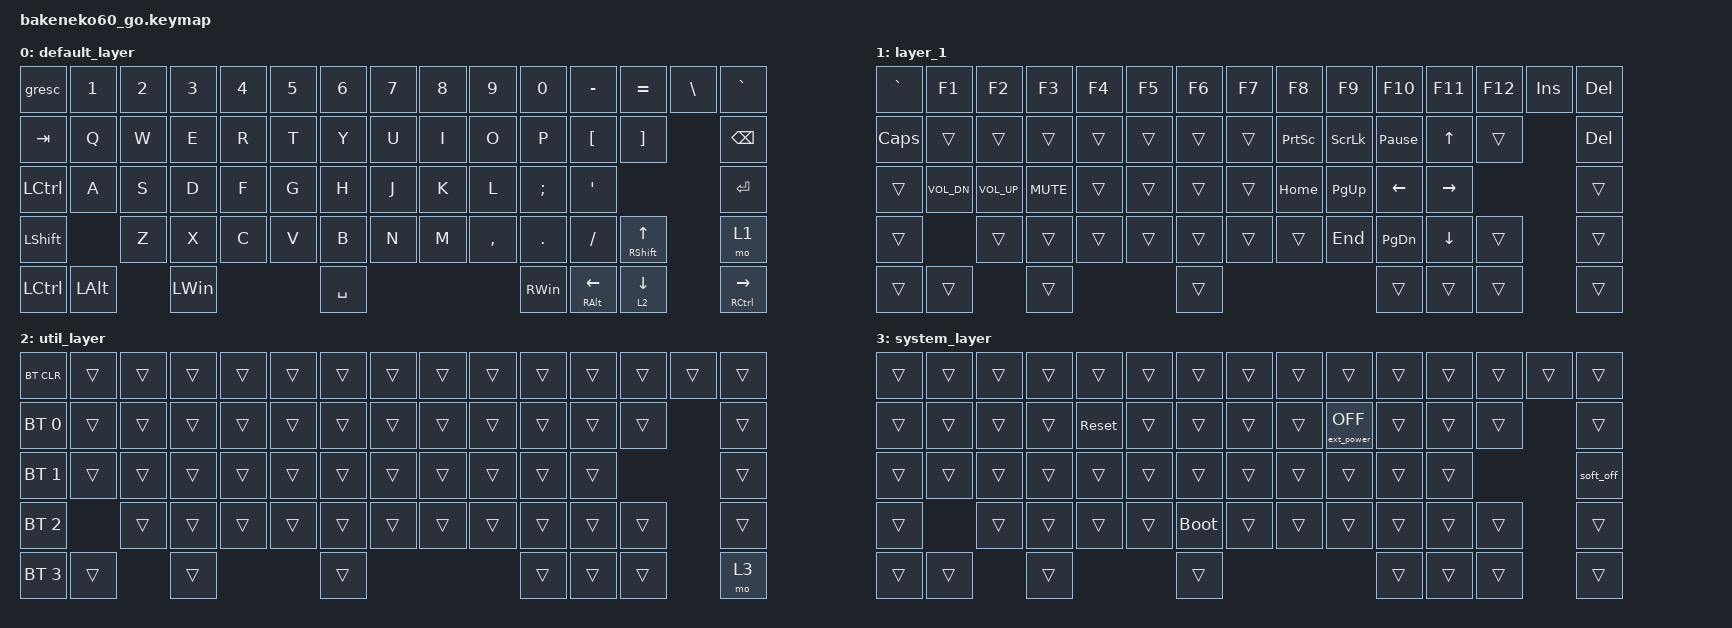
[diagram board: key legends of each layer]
/*
 * Copyright (c) 2023 Andrew Kannan
 *
 * SPDX-License-Identifier: MIT
 */

#include <behaviors.dtsi>
#include <dt-bindings/zmk/bt.h>
#include <dt-bindings/zmk/ext_power.h>
#include <dt-bindings/zmk/keys.h>

&soft_off {
    hold-time-ms = <2000>; // Only turn off when the key is held for 2 seconds or longer.
};

/ {
    keymap {
        compatible = "zmk,keymap";

        default_layer {
            // ------------------------------------------------------------------------------------------
            // | ESC |  1  |  2  |  3  |  4  |  5  |  6  |  7  |  8  |  9  |  0  |  -  |  =  | BKSP|BKSP|
            // | TAB  |  Q  |  W  |  E  |  R  |  T  |  Y  |  U  |  I  |  O  |  P  |  [  |  ]  |   "|"   |
            // | CAPS  |  A  |  S  |  D  |  F  |  G  |  H  |  J  |  K  |  L  |  ;  |  '  |     ENTER    |
            // |  SHIFT  |  Z  |  X  |  C  |  V  |  B  |  N  |  M  |  ,  |  .  |  /  |  SHIFT  | MO(1)  |
            // |  CTL  |  WIN  |  ALT  |            SPACE              |  ALT  |  WIN  |  MO(1) |  CTL  |
            // ------------------------------------------------------------------------------------------

            bindings = <
&gresc     &kp N1    &kp N2  &kp N3    &kp N4  &kp N5  &kp N6     &kp N7  &kp N8  &kp N9     &kp N0    &kp MINUS                 &kp EQUAL           &kp BACKSLASH  &kp GRAVE
&kp TAB    &kp Q     &kp W   &kp E     &kp R   &kp T   &kp Y      &kp U   &kp I   &kp O      &kp P     &kp LBKT                  &kp RBKT                           &kp BACKSPACE
&kp LCTRL  &kp A     &kp S   &kp D     &kp F   &kp G   &kp H      &kp J   &kp K   &kp L      &kp SEMI  &kp SQT                                                      &kp RET
&kp LSHFT            &kp Z   &kp X     &kp C   &kp V   &kp B      &kp N   &kp M   &kp COMMA  &kp DOT   &kp FSLH                  &mt RSHFT UP_ARROW                 &mo 1
&kp LCTRL  &kp LALT          &kp LWIN                  &kp SPACE                             &kp RWIN  &mt RIGHT_ALT LEFT_ARROW  &lt 2 DOWN_ARROW                   &mt RCTRL RIGHT_ARROW
            >;
        };

        layer_1 {
            // ------------------------------------------------------------------------------------------------
            // |    `   | F1  | F2  | F3  | F4  | F5  | F6  | F7  | F8  | F9  | F10  | F11 | F12 |     | DEL  |
            // | EFCT REV|   |  UP |   | HUEUP | SATUP | BRIUP | SPDUP |      |  PGUP |    |     |    |       |
            // | EFCT FWD | LT |  DN  | RT | HUEDN | SATDN | BRIDN | SPDDN | HOME | PGDN | END  |  | BOOTLDR  |
            // |             |     |      |      |     |     |     |     |     |     |     |         |        |
            // |         |      |      |             TOG RGB                | PRT SCR |       |       |  MO(2)|
            // ------------------------------------------------------------------------------------------------

            bindings = <
&kp GRAVE  &kp F1        &kp F2        &kp F3      &kp F4  &kp F5  &kp F6  &kp F7  &kp F8           &kp F9          &kp F10          &kp F11       &kp F12  &kp INS  &kp DEL
&kp CLCK   &trans        &trans        &trans      &trans  &trans  &trans  &trans  &kp PRINTSCREEN  &kp SCROLLLOCK  &kp PAUSE_BREAK  &kp UP_ARROW  &trans            &kp DEL
&trans     &kp C_VOL_DN  &kp C_VOL_UP  &kp K_MUTE  &trans  &trans  &trans  &trans  &kp HOME         &kp PG_UP       &kp LEFT         &kp RIGHT                       &trans
&trans                   &trans        &trans      &trans  &trans  &trans  &trans  &trans           &kp END         &kp PG_DN        &kp DOWN      &trans            &trans
&trans     &trans                      &trans                      &trans                                           &trans           &trans        &trans            &trans
            >;
        };

        util_layer {
            // ------------------------------------------------------------------------------------------------
            // | BT CLR |     |     |     |     |     |     |     |     |     |     |    |    |       |       |
            // |  BT 1   |   |     |   |       |       |       |       |   |     |    |     |     |           |
            // |   BT 2   |    |      |    |       |       |       |       |      |      |      |  |   Reset  |
            // |    BT 3     |     |      |      |     |     |     |     |     |     |     |         |        |
            // |   BT 4  |      |      |                                    |         |       |       |       |
            // ------------------------------------------------------------------------------------------------

            bindings = <
&bt BT_CLR    &trans  &trans  &trans  &trans  &trans  &trans  &trans  &trans  &trans  &trans  &trans  &trans  &trans  &trans
&bt BT_SEL 0  &trans  &trans  &trans  &trans  &trans  &trans  &trans  &trans  &trans  &trans  &trans  &trans          &trans
&bt BT_SEL 1  &trans  &trans  &trans  &trans  &trans  &trans  &trans  &trans  &trans  &trans  &trans                  &trans
&bt BT_SEL 2          &trans  &trans  &trans  &trans  &trans  &trans  &trans  &trans  &trans  &trans  &trans          &trans
&bt BT_SEL 3  &trans          &trans                  &trans                          &trans  &trans  &trans          &mo 3
            >;
        };

        system_layer {
            bindings = <
&trans  &trans  &trans  &trans  &trans      &trans  &trans       &trans  &trans  &trans             &trans  &trans  &trans  &trans  &trans
&trans  &trans  &trans  &trans  &sys_reset  &trans  &trans       &trans  &trans  &ext_power EP_OFF  &trans  &trans  &trans          &trans
&trans  &trans  &trans  &trans  &trans      &trans  &trans       &trans  &trans  &trans             &trans  &trans                  &soft_off
&trans          &trans  &trans  &trans      &trans  &bootloader  &trans  &trans  &trans             &trans  &trans  &trans          &trans
&trans  &trans          &trans                      &trans                                          &trans  &trans  &trans          &trans
            >;
        };
    };

    combos {
        compatible = "zmk,combos";

        combo_bt {
            timeout-ms = <50>;
            key-positions = <61 62>;
            bindings = <&mo 2>;
        };
    };
};
